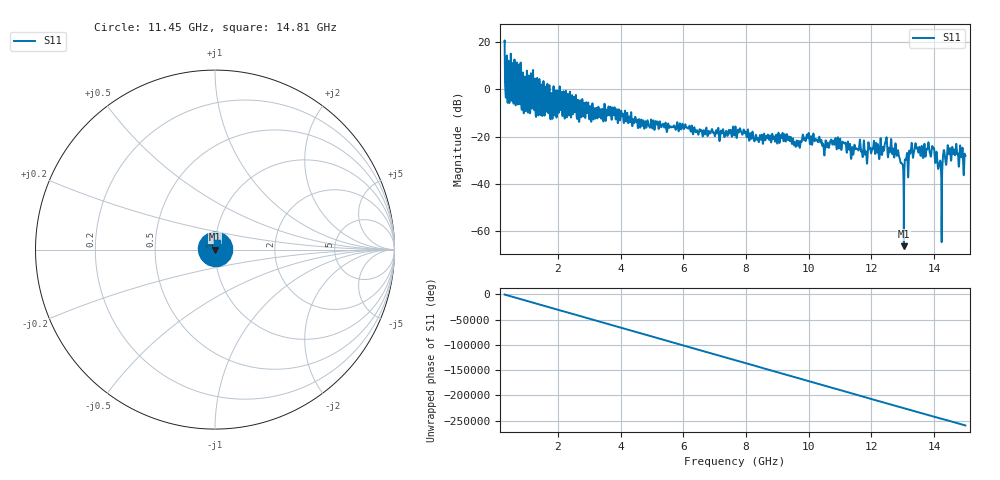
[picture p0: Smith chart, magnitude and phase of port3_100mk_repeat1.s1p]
# GHZ S RI R 50.0
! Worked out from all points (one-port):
!   12801 points, 300 MHz to 15 GHz, reference 50 ohm
!   lowest |S11| = -66.3 dB at 13.04 GHz (marker M1), VSWR 1.00, Z = 50 + j0.0231 ohm
!   |S11| at or under -10 dB: 4.03 GHz to 4.131 GHz (100.8 MHz wide, 2.47 % of centre); 4.213 GHz to 4.331 GHz (118.2 MHz wide, 2.77 % of centre); 4.341 GHz to end of sweep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
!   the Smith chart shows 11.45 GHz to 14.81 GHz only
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0.3  -6.733 -7.796
0.3746484  3.325 -0.837
0.3826875  -1.061 -0.1326
0.4228828  -2.745 2.218
0.4309219  1.043 -0.4692
0.4424063  -0.5509 0.2954
0.7524844  0.7071 1.528
0.9109687  -0.2991 -0.0914
1.202672  -1.221 0.7421
1.31407  0.18 -0.2678
2.1375  0.0588 0.2942
3.975  0.1693 0.1543
5.8125  0.00812 -0.2007
7.65  -0.0574 -0.1258
9.4875  -0.0363 0.0766
9.946875  -0.1094 0.00946
11.325  0.057 0.0328
12.29543  0.0547 0.0755
12.43669  -0.00305 0.074
12.82371  -0.0376 -0.0171
13.03732  -0.000428 0.000231
13.1625  -0.0196 0.00226
13.3451  -0.0418 0.0149
13.81366  -0.0577 -0.0468
14.01579  -0.0269 -0.0343
14.1915  0.026 -0.0169
14.47057  0.0363 -0.023
15  0.0393 0.00271
